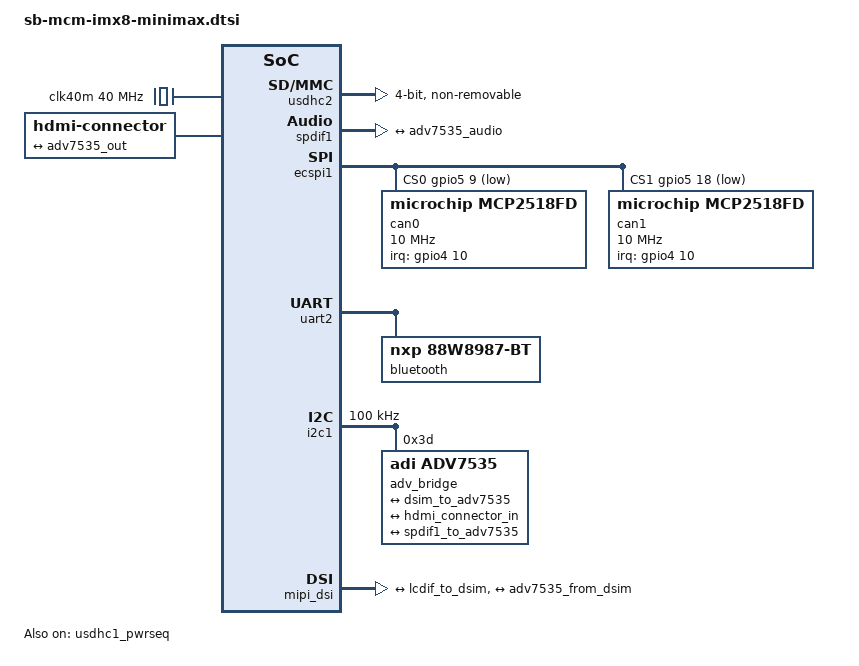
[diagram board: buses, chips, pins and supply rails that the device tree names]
/*
 * Copyright (C) 2018 CompuLab Ltd.
 *
 * This program is free software; you can redistribute it and/or
 * modify it under the terms of the GNU General Public License
 * as published by the Free Software Foundation; either version 2
 * of the License, or (at your option) any later version.
 *
 * This program is distributed in the hope that it will be useful,
 * but WITHOUT ANY WARRANTY; without even the implied warranty of
 * MERCHANTABILITY or FITNESS FOR A PARTICULAR PURPOSE. See the
 * GNU General Public License for more details.
 */

#include "../freescale/imx8mm-pinfunc.h"

/ {
	clocks {
		clk40m: clk@1 {
			compatible = "fixed-clock";
			#reg = <1>;
			#clock-cells = <0>;
			clock-frequency = <40000000>;
			clock-output-names = "clk40m";
		};
	};

	sound-hdmi {
		compatible = "audio-graph-card";
		label = "minimax-hdmi";
		dais = <&spdif1_port>;
	};
};

&usdhc2 {
	#address-cells = <1>;
	#size-cells = <0>;
	/*
	 * Sona NX611M Wi-Fi SDIO is wired to MCM MMC/SD/SDIO port #2:
	 * EXT_SD2_CLK/CMD/DATA[0..3] on CMiMX8M pins 70/69/72/73/68/67.
	 */
	pinctrl-names = "default", "state_100mhz", "state_200mhz";
	pinctrl-0 = <&pinctrl_usdhc2>, <&pinctrl_usdhc2_gpio>;
	pinctrl-1 = <&pinctrl_usdhc2_100mhz>, <&pinctrl_usdhc2_gpio>;
	pinctrl-2 = <&pinctrl_usdhc2_200mhz>, <&pinctrl_usdhc2_gpio>;
	non-removable;
	wifi-host;
	pm-ignore-notify;
	/* Keep the NX611M SDIO bus at 3.3 V signaling. */
	no-1-8-v;
	bus-width = <4>;
	mmc-pwrseq = <&usdhc1_pwrseq>;
	/delete-property/ vmmc-supply;
	status = "okay";
	wakeup-source;
	fsl,sdio-async-interrupt-enable;
};

&usdhc1_pwrseq {
	reset-gpios = <&gpio2 19 GPIO_ACTIVE_HIGH>,	/* WIFI_DIS */
		      <&gpio2 6 GPIO_ACTIVE_LOW>;	/* BT_DIS */
	post-power-on-delay-ms = <1000>;
	status = "okay";
};

&reg_usdhc2_vmmc {
	status = "disabled";
};

&iomuxc {
	sb-mcm-imx8 {
		pinctrl_usdhc2_gpio: usdhc2grpgpio {
			fsl,pins = <
				/* WIFI_DIS, PMWBNX611.3 to CMiMX8M.121. */
				MX8MM_IOMUXC_SD2_RESET_B_GPIO2_IO19	0x06
				MX8MM_IOMUXC_SD1_DATA4_GPIO2_IO6		0x06
			>;
		};

		pinctrl_usdhc2: usdhc2grp {
			fsl,pins = <
				MX8MM_IOMUXC_SD2_CLK_USDHC2_CLK		0x190
				MX8MM_IOMUXC_SD2_CMD_USDHC2_CMD		0x1d0
				MX8MM_IOMUXC_SD2_DATA0_USDHC2_DATA0	0x1d0
				MX8MM_IOMUXC_SD2_DATA1_USDHC2_DATA1	0x1d0
				MX8MM_IOMUXC_SD2_DATA2_USDHC2_DATA2	0x1d0
				MX8MM_IOMUXC_SD2_DATA3_USDHC2_DATA3	0x1d0
			>;
		};

		pinctrl_usdhc2_100mhz: usdhc2grp100mhz {
			fsl,pins = <
				MX8MM_IOMUXC_SD2_CLK_USDHC2_CLK		0x194
				MX8MM_IOMUXC_SD2_CMD_USDHC2_CMD		0x1d4
				MX8MM_IOMUXC_SD2_DATA0_USDHC2_DATA0	0x1d4
				MX8MM_IOMUXC_SD2_DATA1_USDHC2_DATA1	0x1d4
				MX8MM_IOMUXC_SD2_DATA2_USDHC2_DATA2	0x1d4
				MX8MM_IOMUXC_SD2_DATA3_USDHC2_DATA3	0x1d4
			>;
		};

		pinctrl_usdhc2_200mhz: usdhc2grp200mhz {
			fsl,pins = <
				MX8MM_IOMUXC_SD2_CLK_USDHC2_CLK		0x196
				MX8MM_IOMUXC_SD2_CMD_USDHC2_CMD		0x1d6
				MX8MM_IOMUXC_SD2_DATA0_USDHC2_DATA0	0x1d6
				MX8MM_IOMUXC_SD2_DATA1_USDHC2_DATA1	0x1d6
				MX8MM_IOMUXC_SD2_DATA2_USDHC2_DATA2	0x1d6
				MX8MM_IOMUXC_SD2_DATA3_USDHC2_DATA3	0x1d6
			>;
		};

		pinctrl_uart2_bt: uart2btgrp {
			fsl,pins = <
				MX8MM_IOMUXC_UART2_RXD_UART2_DCE_RX	0x140
				MX8MM_IOMUXC_UART2_TXD_UART2_DCE_TX	0x140
			>;
		};

		pinctrl_ecspi1: ecspi1grp {
			fsl,pins = <
				MX8MM_IOMUXC_ECSPI1_SCLK_ECSPI1_SCLK	0x02
				MX8MM_IOMUXC_ECSPI1_MOSI_ECSPI1_MOSI	0x02
				MX8MM_IOMUXC_ECSPI1_MISO_ECSPI1_MISO	0x102
			>;
		};

		pinctrl_ecspi1_cs: ecspi1_csgrp {
			fsl,pins = <
				/* SPI#1_SEL, PMSPICANTB4#1.2 to CMiMX8M.46. */
				MX8MM_IOMUXC_ECSPI1_SS0_GPIO5_IO9	0x40000
				/* SPI#2_SEL, PMSPICANTB4#2.2 to CMiMX8M.58. */
				MX8MM_IOMUXC_I2C3_SCL_GPIO5_IO18	0x40000
			>;
		};

		pinctrl_can_int: canintgrp {
			fsl,pins = <
				/* CAN_INT, shared by both PMSPICANTB4 modules. */
				MX8MM_IOMUXC_SAI1_TXFS_GPIO4_IO10	0x00
			>;
		};

		pinctrl_spdif1: spdif1grp {
			fsl,pins = <
				/* SPDIF_TX, PMDSIHDMI.24 to CMiMX8M.82. */
				MX8MM_IOMUXC_SPDIF_TX_SPDIF1_OUT	0x02
			>;
		};
	};
};

&spdif1 {
	#sound-dai-cells = <0>;
	pinctrl-names = "default";
	pinctrl-0 = <&pinctrl_spdif1>;
	status = "okay";

	ports {
		spdif1_port: port {
			spdif1_to_adv7535: endpoint {
				remote-endpoint = <&adv7535_audio>;
			};
		};
	};
};

&ecspi1 {
	#address-cells = <1>;
	#size-cells = <0>;
	fsl,spi-num-chipselects = <2>;
	pinctrl-names = "default";
	pinctrl-0 = <&pinctrl_ecspi1 &pinctrl_ecspi1_cs &pinctrl_can_int>;
	cs-gpios = <&gpio5 9 GPIO_ACTIVE_LOW>, <&gpio5 18 GPIO_ACTIVE_LOW>;
	status = "okay";

	can0: can@0 {
		compatible = "microchip,mcp2518fd";
		reg = <0>;
		interrupt-parent = <&gpio4>;
		interrupts = <10 IRQ_TYPE_LEVEL_LOW>;
		spi-max-frequency = <10000000>;
		clocks = <&clk40m>;
	};

	can1: can@1 {
		compatible = "microchip,mcp2518fd";
		reg = <1>;
		interrupt-parent = <&gpio4>;
		interrupts = <10 IRQ_TYPE_LEVEL_LOW>;
		spi-max-frequency = <10000000>;
		clocks = <&clk40m>;
	};
};

&uart4 {
	/* UART4 pins overlap SPI#2_SEL; Bluetooth is routed to UART2. */
	status = "disabled";

	bluetooth {
		status = "disabled";
	};
};

&uart2 {
	pinctrl-names = "default";
	pinctrl-0 = <&pinctrl_uart2_bt>;
	status = "okay";

	bluetooth {
		compatible = "nxp,88w8987-bt";
		max-speed = <3000000>;
		status = "okay";
	};
};

&i2c1 {
	clock-frequency = <100000>;
	pinctrl-names = "default";
	pinctrl-0 = <&pinctrl_i2c1>;
	status = "okay";

	adv_bridge: hdmi@3d {
		compatible = "adi,adv7535";
		reg = <0x3d 0x66>;
		reg-names = "main", "edid";
		adi,addr-cec = <0x3b>;
		adi,dsi-lanes = <4>;
		adi,dsi-channel = <0>;

		/*
		 * Keep EDID-based mode selection, but filter this board's
		 * ADV7535 HDMI output to the highest verified working mode.
		 */
		adi,max-mode-clock-khz = <74250>;
		adi,max-mode-height = <720>;

		ports {
			#address-cells = <1>;
			#size-cells = <0>;

			port@0 {
				reg = <0>;

				adv7535_from_dsim: endpoint {
					remote-endpoint = <&dsim_to_adv7535>;
				};
			};

			port@1 {
				reg = <1>;

				adv7535_out: endpoint {
					remote-endpoint = <&hdmi_connector_in>;
				};
			};

			port@2 {
				reg = <2>;

				adv7535_audio: endpoint {
					adi,audio-input = "spdif";
					remote-endpoint = <&spdif1_to_adv7535>;
				};
			};
		};
	};
};

&mipi_dsi {
	status = "okay";

	/*
	 * The SoC dtsi provides the LCDIF input as a top-level port@0.
	 * Recreate it under ports{} so the DSI host has a normalized
	 * two-port graph: port@0 from LCDIF and port@1 to ADV7535.
	 */
	/delete-node/ port@0;

	ports {
		#address-cells = <1>;
		#size-cells = <0>;

		port@0 {
			reg = <0>;

			dsim_from_lcdif: endpoint {
				remote-endpoint = <&lcdif_to_dsim>;
			};
		};

		port@1 {
			reg = <1>;

			dsim_to_adv7535: endpoint {
				remote-endpoint = <&adv7535_from_dsim>;
				attach-bridge;
			};
		};
	};
};

/ {
	hdmi-connector {
		compatible = "hdmi-connector";
		label = "hdmi";
		type = "a";

		port {
			hdmi_connector_in: endpoint {
				remote-endpoint = <&adv7535_out>;
			};
		};
	};
};
